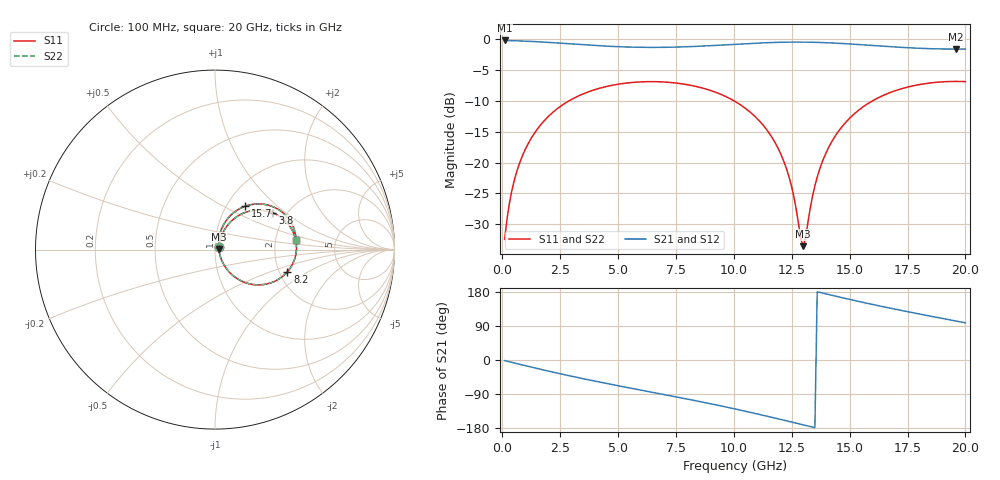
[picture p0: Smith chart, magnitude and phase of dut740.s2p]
! Touchstone file exported from HFSS 2026.1.0
!  File:  C:/ffzhzh/LocalFiles/Ansys_Project_Files/temp_train_TSV_RDL_740_1783204585_55132.aedt
!  Generated:  06:45:52 AM Jul  5, 2026
!  Design:  TSV_RDL
!  Project:  temp_train_TSV_RDL_740_1783204585_55132
! Variables:
!  h_bsmrdl = 2.89um
!  h_ox = 20um
!  h_rdl = 5um
!  h_sub = 74.68um
!  h_tmrdl = 4.84um
!  h_tsv = 74.68um
!  h_via = 3um
!  l_bsmrdl = 394.12um
!  l_sub = 4414.23um
!  l_tmrdl = 677.42um
!  m_sub = 200um
!  pitch = 40.39um
!  r_tsv = 9.43um
!  s_tmrdl = 10um
!  w_bsmrdl = 24.41um
!  w_sub = 500um
!  w_tmrdl = 16.32um
!  x_tsv_center1 = 685.58um
!  x_tsv_center2 = 1104.11um
!  x_tsv_center3 = 1797.85um
!  x_tsv_center4 = 2216.38um
!  x_tsv_center5 = 2910.12um
!  x_tsv_center6 = 3328.65um
# GHz S MA R 50.000000
! Terminal data exported
! Port[1] = TM_RDL1_1_T1
! Port[2] = TM_RDL5_1_T1
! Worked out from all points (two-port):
!   200 points, 100 MHz to 20 GHz, reference 50 ohm
!   highest |S21| = -0.17 dB at 100 MHz (marker M1); lowest = -1.6 dB at 19.6 GHz (marker M2)
!   |S21| within 3 dB of the highest: start of sweep to end of sweep
!   lowest |S11| = -33.6 dB at 13 GHz (marker M3), VSWR 1.04, Z = 52.1 + j0.342 ohm
!   |S11| at or under -10 dB: start of sweep to 2.866 GHz; 10.02 GHz to 15.97 GHz (5.955 GHz wide, 45.8 % of centre)
!   |S22| runs from -33.4 to -6.8 dB; largest |S21 - S12| = 1.7e-14
!   S11 on the Smith chart (normalised r, x): 100 MHz: 1.04, +0.03; 3.8 GHz: 1.69, +0.82; 8.2 GHz: 2.21, -0.67; 15.7 GHz: 1.22, +0.64; 20 GHz: 2.61, +0.36
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0.1  0.02385 34.6  0.9807 -1.6  0.9807 -1.6  0.02385 34.6
! Gamma 0 0 0 0
! Port Impedance 50 0 50 0
0.3  0.04592 58.2  0.9782 -4.7  0.9782 -4.7  0.04592 58.2
0.5  0.06975 63.6  0.9755 -7.7  0.9755 -7.7  0.06975 63.6
1.1  0.1405 63.5  0.9661 -16.5  0.9661 -16.5  0.1405 63.5
2.1  0.2481 53.2  0.9429 -30.8  0.9429 -30.8  0.2481 53.2
3.5  0.3621 36.3  0.9045 -49.5  0.9045 -49.5  0.3621 36.4
3.8  0.3804 32.8  0.8969 -53.3  0.8969 -53.3  0.3804 32.8
6.8  0.4531 -1.3  0.8619 -89.0  0.8619 -89.0  0.4531 -1.2
8.2  0.4219 -17.0  0.8752 -105.6  0.8752 -105.6  0.4219 -17.0
10.1  0.3099 -39.4  0.9139 -129.8  0.9139 -129.8  0.3099 -39.3
11.2  0.2081 -52.2  0.9367 -145.0  0.9367 -145.0  0.2081 -52.1
12  0.1206 -59.2  0.9478 -156.5  0.9478 -156.5  0.1207 -59.0
12.5  0.06324 -56.9  0.951 -163.8  0.951 -163.8  0.06333 -56.6
12.9  0.02381 -20.2  0.9511 -169.7  0.9511 -169.7  0.0241 -19.8
13  0.021 9.0  0.9508 -171.2  0.9508 -171.2  0.02134 9.0
13.4  0.05364 67.8  0.9481 -177.1  0.9481 -177.1  0.05378 67.5
13.8  0.09925 72.9  0.9434 177.1  0.9434 177.1  0.09933 72.8
14.3  0.1558 70.4  0.9348 169.8  0.9348 169.8  0.1558 70.3
15.7  0.2938 55.2  0.9007 150.4  0.9007 150.4  0.2938 55.2
16.7  0.3675 43.5  0.8745 137.4  0.8745 137.4  0.3675 43.5
19.6  0.4561 11.3  0.8345 102.8  0.8345 102.8  0.4561 11.4
20  0.4543 7.0  0.8353 98.1  0.8353 98.1  0.4543 7.0
